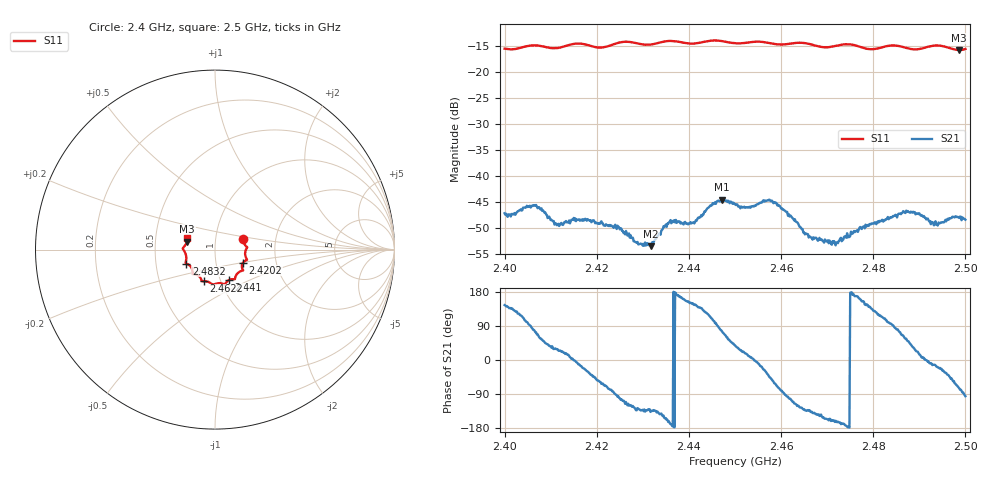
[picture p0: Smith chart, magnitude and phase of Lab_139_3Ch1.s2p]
# Hz S RI R
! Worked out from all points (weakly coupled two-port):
!   601 points, 2.4 GHz to 2.5 GHz, reference 50 ohm
!   highest |S21| = -44.54 dB at 2.4472 GHz (marker M1); lowest = -53.4 dB at 2.4318 GHz (marker M2)
!   lowest |S11| = -15.8 dB at 2.4987 GHz (marker M3), VSWR 1.39, Z = 36.4 + j3.36 ohm
!   |S11| at or under -10 dB: start of sweep to end of sweep
!   S12 and S22 are empty: the file has one direction only
!   S11 on the Smith chart (normalised r, x): 2.4 GHz: 1.36, +0.17; 2.4202 GHz: 1.35, -0.20; 2.441 GHz: 1.09, -0.39; 2.4622 GHz: 0.83, -0.30; 2.4832 GHz: 0.72, -0.12; 2.5 GHz: 0.73, +0.09
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2.4e9  0.1563 0.06  -0.0036 0.00253  0 0  0 0
2.4065e9  0.1797 0.0126  0.00117 0.00513  0 0  0 0
2.411333e9  0.1676 -0.023  0.00297 0.00163  0 0  0 0
2.416667e9  0.1772 -0.0582  0.00367 -0.00108  0 0  0 0
2.420167e9  0.1558 -0.0725  0.00207 -0.00287  0 0  0 0
2.4295e9  0.139 -0.1225  -0.00153 -0.00165  0 0  0 0
2.431833e9  0.1195 -0.1398  -0.00148 -0.00153  0 0  0 0
2.433333e9  0.1132 -0.1524  -0.00201 -0.00179  0 0  0 0
2.436167e9  0.11 -0.165  -0.00348 -0.000607  0 0  0 0
2.441e9  0.0765 -0.1708  -0.003 0.002  0 0  0 0
2.447167e9  0.0475 -0.192  0.00149 0.00574  0 0  0 0
2.45e9  0.0262 -0.1868  0.00421 0.00336  0 0  0 0
2.4575e9  -0.0221 -0.188  0.00415 -0.00423  0 0  0 0
2.462167e9  -0.063 -0.1766  -0.00107 -0.00399  0 0  0 0
2.466667e9  -0.0766 -0.1665  -0.00185 -0.00176  0 0  0 0
2.472167e9  -0.1159 -0.1366  -0.00222 -0.000624  0 0  0 0
2.483167e9  -0.1596 -0.0781  -0.000722 0.00399  0 0  0 0
2.483333e9  -0.1605 -0.0776  -0.000581 0.00382  0 0  0 0
2.487e9  -0.1605 -0.0588  0.00245 0.00369  0 0  0 0
2.4935e9  -0.1794 0.0048  0.00358 -0.000883  0 0  0 0
2.498667e9  -0.1561 0.045  0.00104 -0.00383  0 0  0 0
2.5e9  -0.1536 0.0632  -0.000369 -0.0038  0 0  0 0
